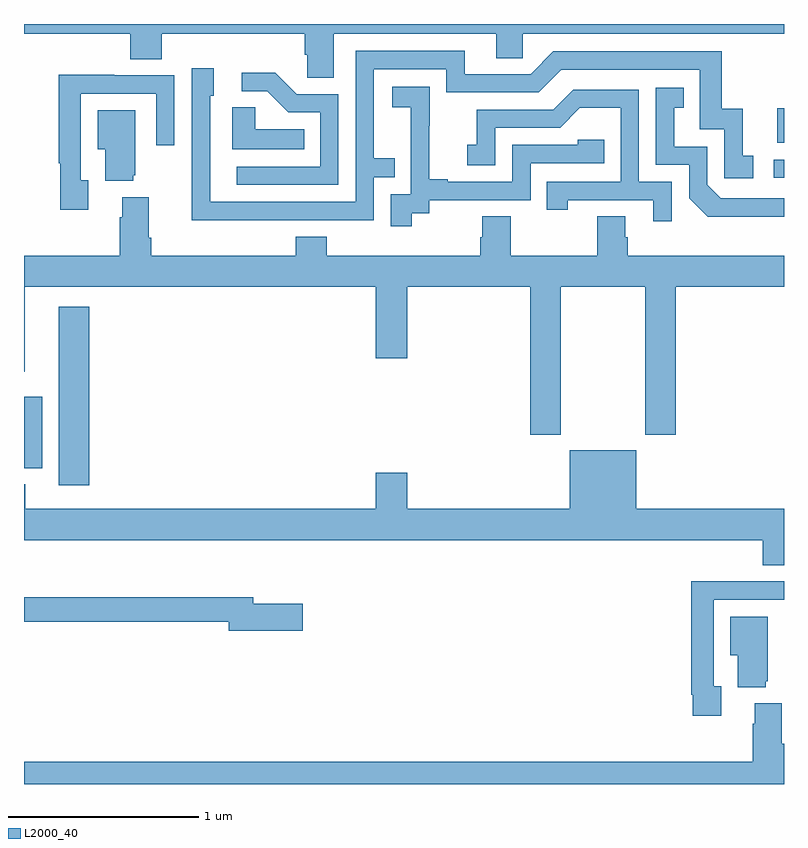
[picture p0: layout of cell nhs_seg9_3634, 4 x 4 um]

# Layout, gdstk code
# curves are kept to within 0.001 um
import gdstk
lib = gdstk.Library(unit=1e-6, precision=1e-09)
def R(c, l, rs):  # rectangles x0, y0, x1, y1
    for r in rs: c.add(gdstk.rectangle(r[:2], r[2:], *l))
def P(c, l, *ps):  # polygons
    for p in ps: c.add(gdstk.Polygon(p, *l))
L2000_40 = (2000, 40)

nhs_seg9_3634 = lib.new_cell('nhs_seg9_3634')
R(nhs_seg9_3634, L2000_40, [(319.184,1166.073,319.343,1167.013), (319,1166.163,319.095,1166.539), (322.947,1167.69,323,1167.786), (322.964,1167.875,323,1168.057)])
P(nhs_seg9_3634, L2000_40, [(320.629,1168.448),(321.485,1168.448),(321.485,1168.321),(321.624,1168.321),(321.624,1168.448),(323,1168.448),(323,1168.5),(319,1168.5),(319,1168.448),(319.559,1168.448),(319.559,1168.315),(319.724,1168.315),(319.724,1168.448),(320.477,1168.448),(320.477,1168.339),(320.49,1168.339),(320.49,1168.216),(320.629,1168.216)],
  [(320.345,1167.468),(320.841,1167.468),(320.841,1167.693),(320.951,1167.693),(320.951,1167.794),(320.841,1167.794),(320.841,1168.263),(321.222,1168.263),(321.222,1168.14),(321.708,1168.14),(321.828,1168.26),(322.557,1168.26),(322.557,1167.945),(322.686,1167.945),(322.686,1167.687),(322.837,1167.687),(322.837,1167.807),(322.784,1167.807),(322.784,1168.054),(322.673,1168.054),(322.673,1168.356),(321.786,1168.356),(321.666,1168.236),(321.319,1168.236),(321.319,1168.359),(320.745,1168.359),(320.745,1167.564),(319.98,1167.564),(319.98,1168.122),(319.999,1168.122),(319.999,1168.267),(319.884,1168.267),(319.884,1167.773),(319.882,1167.773),(319.882,1167.467)],
  [(320.655,1168.131),(320.436,1168.131),(320.323,1168.244),(320.145,1168.244),(320.145,1168.146),(320.279,1168.146),(320.39,1168.035),(320.559,1168.035),(320.559,1167.75),(320.121,1167.75),(320.121,1167.654),(320.655,1167.654)],
  [(319.339,1167.678),(319.299,1167.678),(319.299,1168.134),(319.695,1168.134),(319.695,1167.861),(319.791,1167.861),(319.791,1168.23),(319.475,1168.23),(319.475,1168.232),(319.183,1168.232),(319.183,1167.766),(319.191,1167.766),(319.191,1167.522),(319.339,1167.522)],
  [(321.04,1167.505),(321.132,1167.505),(321.132,1167.573),(321.666,1167.573),(321.666,1167.768),(322.055,1167.768),(322.055,1167.891),(321.915,1167.891),(321.915,1167.864),(321.57,1167.864),(321.57,1167.669),(321.229,1167.669),(321.229,1167.682),(321.134,1167.682),(321.134,1167.965),(321.135,1167.965),(321.135,1168.171),(320.937,1168.171),(320.937,1168.061),(321.035,1168.061),(321.035,1167.833),(321.036,1167.833),(321.036,1167.603),(320.931,1167.603),(320.931,1167.435),(321.04,1167.435)],
  [(323,1167.582),(322.668,1167.582),(322.596,1167.654),(322.596,1167.855),(322.423,1167.855),(322.423,1168.059),(322.472,1168.059),(322.472,1168.165),(322.326,1168.165),(322.326,1167.759),(322.5,1167.759),(322.5,1167.582),(322.598,1167.485),(323,1167.485)],
  [(322.41,1167.669),(322.236,1167.669),(322.236,1168.155),(321.89,1168.155),(321.785,1168.05),(321.382,1168.05),(321.382,1167.865),(321.333,1167.865),(321.333,1167.756),(321.48,1167.756),(321.48,1167.954),(321.822,1167.954),(321.926,1168.058),(322.14,1168.058),(322.14,1167.669),(321.751,1167.669),(321.751,1167.522),(321.862,1167.522),(321.862,1167.573),(322.313,1167.573),(322.313,1167.462),(322.41,1167.462)],
  [(320.474,1167.946),(320.217,1167.946),(320.217,1168.061),(320.096,1168.061),(320.096,1167.842),(320.474,1167.842)],
  [(319.574,1167.705),(319.585,1167.705),(319.585,1168.045),(319.388,1168.045),(319.388,1167.842),(319.427,1167.842),(319.427,1167.674),(319.574,1167.674)],
  [(321.825,1167.116),(322.27,1167.116),(322.27,1166.337),(322.43,1166.337),(322.43,1167.116),(323,1167.116),(323,1167.28),(322.178,1167.28),(322.178,1167.378),(322.165,1167.378),(322.165,1167.488),(322.018,1167.488),(322.018,1167.28),(321.561,1167.28),(321.561,1167.488),(321.413,1167.488),(321.413,1167.378),(321.401,1167.378),(321.401,1167.28),(320.594,1167.28),(320.594,1167.379),(320.429,1167.379),(320.429,1167.28),(319.67,1167.28),(319.67,1167.376),(319.657,1167.376),(319.657,1167.589),(319.517,1167.589),(319.517,1167.482),(319.505,1167.482),(319.505,1167.28),(319,1167.28),(319,1166.67),(319.004,1166.67),(319.004,1167.116),(320.852,1167.116),(320.852,1166.742),(321.016,1166.742),(321.016,1167.116),(321.665,1167.116),(321.665,1166.337),(321.825,1166.337)],
  [(323,1165.948),(322.222,1165.948),(322.222,1166.257),(321.872,1166.257),(321.872,1165.948),(321.016,1165.948),(321.016,1166.137),(320.852,1166.137),(320.852,1165.948),(319.006,1165.948),(319.006,1166.078),(319,1166.078),(319,1165.784),(322.889,1165.784),(322.889,1165.651),(323,1165.651)],
  [(322.669,1165.014),(322.629,1165.014),(322.629,1165.47),(323,1165.47),(323,1165.566),(322.805,1165.566),(322.805,1165.568),(322.513,1165.568),(322.513,1164.97),(322.521,1164.97),(322.521,1164.858),(322.669,1164.858)],
  [(320.467,1165.449),(320.206,1165.449),(320.206,1165.483),(319,1165.483),(319,1165.354),(320.078,1165.354),(320.078,1165.307),(320.467,1165.307)],
  [(322.904,1165.041),(322.915,1165.041),(322.915,1165.381),(322.718,1165.381),(322.718,1165.178),(322.757,1165.178),(322.757,1165.01),(322.904,1165.01)],
  [(323,1164.712),(322.987,1164.712),(322.987,1164.925),(322.847,1164.925),(322.847,1164.818),(322.835,1164.818),(322.835,1164.616),(319,1164.616),(319,1164.5),(323,1164.5)])

lib.write_gds('nhs_seg9_3634.gds')
